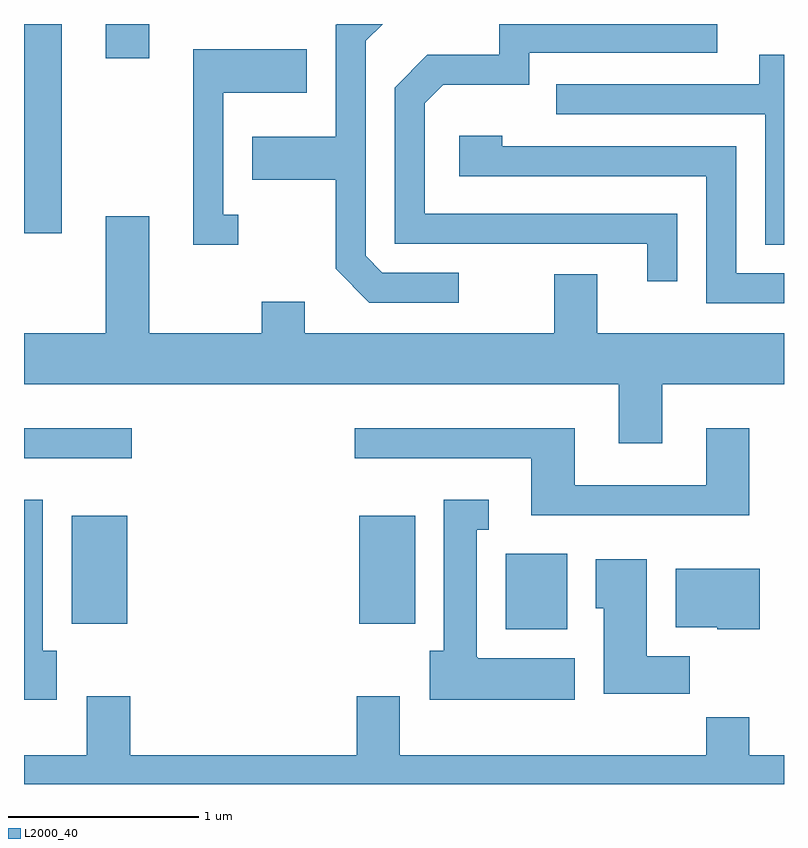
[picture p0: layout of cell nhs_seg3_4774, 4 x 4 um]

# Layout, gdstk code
import gdstk
lib = gdstk.Library(unit=1e-6, precision=1e-09)
def R(c, l, rs):  # rectangles x0, y0, x1, y1
    for r in rs: c.add(gdstk.rectangle(r[:2], r[2:], *l))
def P(c, l, *ps):  # polygons
    for p in ps: c.add(gdstk.Polygon(p, *l))
L2000_40 = (2000, 40)

nhs_seg3_4774 = lib.new_cell('nhs_seg3_4774')
R(nhs_seg3_4774, L2000_40, [(328.146,1144.706,328.469,1145.104), (325.861,1144.736,326.154,1145.304), (327.376,1144.736,327.669,1145.304), (325.611,1145.606,326.178,1145.764), (325.611,1146.791,325.809,1147.892), (326.041,1147.711,326.269,1147.892)])
P(nhs_seg3_4774, L2000_40, [(327.898,1146.584),(327.497,1146.584),(327.409,1146.672),(327.409,1147.804),(327.498,1147.892),(327.256,1147.892),(327.251,1147.887),(327.251,1147.299),(326.811,1147.299),(326.811,1147.071),(327.251,1147.071),(327.251,1146.604),(327.429,1146.426),(327.898,1146.426)],
  [(329.049,1146.894),(327.719,1146.894),(327.719,1147.474),(327.817,1147.571),(328.269,1147.571),(328.269,1147.741),(329.259,1147.741),(329.259,1147.892),(328.111,1147.892),(328.111,1147.729),(327.734,1147.729),(327.561,1147.557),(327.561,1146.736),(328.891,1146.736),(328.891,1146.538),(329.049,1146.538)],
  [(326.738,1146.889),(326.659,1146.889),(326.659,1147.531),(327.099,1147.531),(327.099,1147.759),(326.501,1147.759),(326.501,1146.731),(326.738,1146.731)],
  [(329.611,1147.729),(329.481,1147.729),(329.481,1147.574),(328.413,1147.574),(328.413,1147.416),(329.511,1147.416),(329.511,1146.731),(329.611,1146.731)],
  [(329.611,1146.579),(329.359,1146.579),(329.359,1147.249),(328.129,1147.249),(328.129,1147.304),(327.901,1147.304),(327.901,1147.091),(329.201,1147.091),(329.201,1146.421),(329.611,1146.421)],
  [(328.969,1145.996),(329.611,1145.996),(329.611,1146.264),(328.629,1146.264),(328.629,1146.574),(328.401,1146.574),(328.401,1146.264),(327.089,1146.264),(327.089,1146.429),(326.861,1146.429),(326.861,1146.264),(326.269,1146.264),(326.269,1146.879),(326.041,1146.879),(326.041,1146.264),(325.611,1146.264),(325.611,1145.996),(328.741,1145.996),(328.741,1145.686),(328.969,1145.686)],
  [(329.429,1145.764),(329.201,1145.764),(329.201,1145.464),(328.509,1145.464),(328.509,1145.764),(327.353,1145.764),(327.353,1145.606),(328.281,1145.606),(328.281,1145.306),(329.429,1145.306)],
  [(325.784,1144.594),(325.709,1144.594),(325.709,1145.389),(325.611,1145.389),(325.611,1144.336),(325.784,1144.336)],
  [(328.509,1144.554),(328,1144.554),(328,1144.56),(327.994,1144.56),(327.994,1145.231),(328.058,1145.231),(328.058,1145.389),(327.821,1145.389),(327.821,1144.594),(327.746,1144.594),(327.746,1144.336),(328.509,1144.336)],
  [(329.114,1144.564),(328.889,1144.564),(328.889,1145.074),(328.621,1145.074),(328.621,1144.816),(328.661,1144.816),(328.661,1144.366),(329.114,1144.366)],
  [(329.484,1145.024),(329.041,1145.024),(329.041,1144.716),(329.26,1144.716),(329.26,1144.706),(329.484,1144.706)],
  [(329.611,1144.044),(329.429,1144.044),(329.429,1144.244),(329.201,1144.244),(329.201,1144.044),(327.589,1144.044),(327.589,1144.354),(327.361,1144.354),(327.361,1144.044),(326.169,1144.044),(326.169,1144.354),(325.941,1144.354),(325.941,1144.044),(325.611,1144.044),(325.611,1143.892),(329.611,1143.892)])

lib.write_gds('nhs_seg3_4774.gds')
